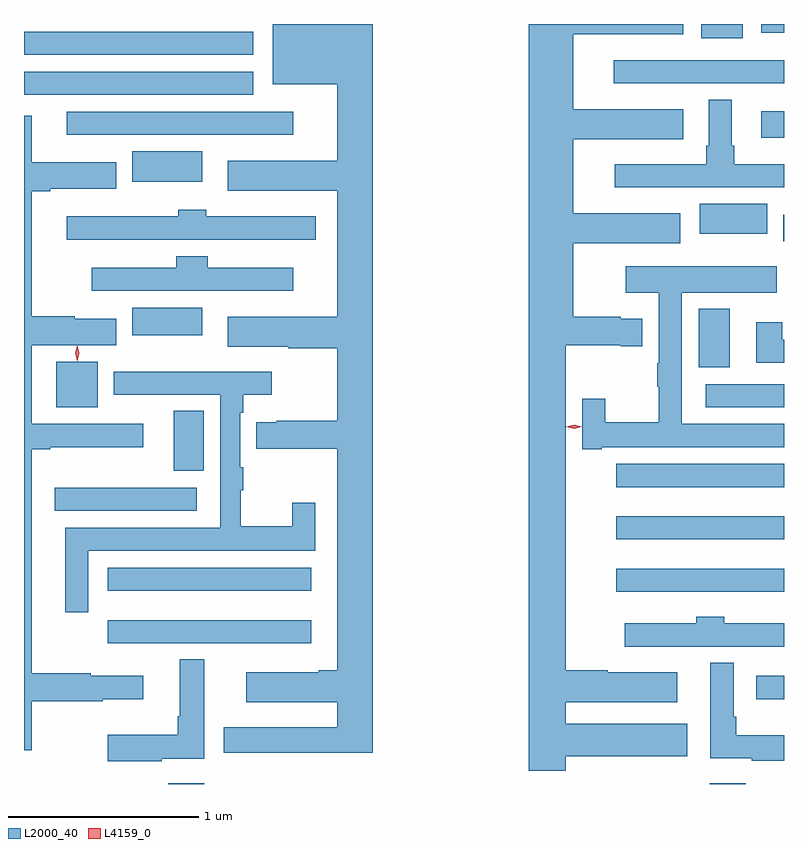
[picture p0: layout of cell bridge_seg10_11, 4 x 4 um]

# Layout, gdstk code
import gdstk
lib = gdstk.Library(unit=1e-6, precision=1e-09)
def R(c, l, rs):  # rectangles x0, y0, x1, y1
    for r in rs: c.add(gdstk.rectangle(r[:2], r[2:], *l))
def A(c, l, x, y, w, h, nx, ny, dx, dy):  # array of equal rectangles
    R(c, l, [(x+i*dx, y+j*dy, x+i*dx+w, y+j*dy+h) for i in range(nx) for j in range(ny)])
def P(c, l, *ps):  # polygons
    for p in ps: c.add(gdstk.Polygon(p, *l))
L2000_40 = (2000, 40)
L4159_0 = (4159, 0)

bridge_seg10_11 = lib.new_cell('bridge_seg10_11')
A(bridge_seg10_11, L2000_40, 1059.798, 1275.164, 0.884, 0.122, 1, 3, 0, 0.276)
R(bridge_seg10_11, L2000_40, [(1057.442,1274.153,1057.63,1274.158), (1060.292,1274.153,1060.48,1274.158), (1060.536,1274.6,1060.682,1274.722), (1057.122,1274.894,1058.194,1275.016), (1057.122,1275.17,1058.194,1275.292), (1056.843,1275.59,1057.591,1275.712), (1057.469,1275.801,1057.627,1276.117), (1056.851,1276.136,1057.069,1276.375), (1060.269,1276.136,1060.682,1276.258), (1060.232,1276.347,1060.396,1276.654), (1057.252,1276.514,1057.621,1276.66), (1060.678,1277.009,1060.682,1277.149), (1060.239,1277.048,1060.593,1277.206), (1057.252,1277.324,1057.621,1277.482), (1060.563,1277.555,1060.682,1277.695), (1056.906,1277.57,1058.098,1277.692), (1056.682,1277.78,1057.888,1277.902), (1059.786,1277.84,1060.682,1277.962), (1056.682,1277.99,1057.888,1278.112), (1060.247,1278.077,1060.465,1278.153), (1060.563,1278.107,1060.682,1278.153)])
P(bridge_seg10_11, L2000_40, [(1058.518,1278.153),(1057.991,1278.153),(1057.991,1277.837),(1058.33,1277.837),(1058.33,1277.434),(1057.755,1277.434),(1057.755,1277.276),(1058.33,1277.276),(1058.33,1276.612),(1057.755,1276.612),(1057.755,1276.454),(1058.074,1276.454),(1058.074,1276.447),(1058.33,1276.447),(1058.33,1276.065),(1058.011,1276.065),(1058.011,1276.057),(1057.904,1276.057),(1057.904,1275.917),(1058.33,1275.917),(1058.33,1274.753),(1058.234,1274.753),(1058.234,1274.74),(1057.851,1274.74),(1057.851,1274.582),(1058.33,1274.582),(1058.33,1274.452),(1057.734,1274.452),(1057.734,1274.318),(1058.518,1274.318)],
  [(1059.532,1274.3),(1060.174,1274.3),(1060.174,1274.47),(1059.532,1274.47),(1059.532,1274.582),(1060.12,1274.582),(1060.12,1274.74),(1059.755,1274.74),(1059.755,1274.753),(1059.532,1274.753),(1059.532,1276.463),(1059.824,1276.463),(1059.824,1276.456),(1059.937,1276.456),(1059.937,1276.603),(1059.824,1276.603),(1059.824,1276.611),(1059.574,1276.611),(1059.574,1277),(1060.135,1277),(1060.135,1277.158),(1059.574,1277.158),(1059.574,1277.546),(1060.153,1277.546),(1060.153,1277.704),(1059.574,1277.704),(1059.574,1278.098),(1060.153,1278.098),(1060.153,1278.153),(1059.338,1278.153),(1059.338,1274.222),(1059.532,1274.222)],
  [(1060.682,1277.416),(1060.421,1277.416),(1060.421,1277.512),(1060.408,1277.512),(1060.408,1277.755),(1060.286,1277.755),(1060.286,1277.512),(1060.274,1277.512),(1060.274,1277.416),(1059.792,1277.416),(1059.792,1277.294),(1060.682,1277.294)],
  [(1056.724,1274.588),(1057.096,1274.588),(1057.096,1274.6),(1057.309,1274.6),(1057.309,1274.722),(1057.034,1274.722),(1057.034,1274.735),(1056.724,1274.735),(1056.724,1275.914),(1056.82,1275.914),(1056.82,1275.926),(1057.309,1275.926),(1057.309,1276.048),(1056.724,1276.048),(1056.724,1276.463),(1057.167,1276.463),(1057.167,1276.603),(1056.95,1276.603),(1056.95,1276.616),(1056.724,1276.616),(1056.724,1277.273),(1056.82,1277.273),(1056.82,1277.285),(1057.167,1277.285),(1057.167,1277.425),(1056.724,1277.425),(1056.724,1277.671),(1056.682,1277.671),(1056.682,1274.33),(1056.724,1274.33)],
  [(1058.218,1277.14),(1057.64,1277.14),(1057.64,1277.176),(1057.493,1277.176),(1057.493,1277.14),(1056.906,1277.14),(1056.906,1277.018),(1058.218,1277.018)],
  [(1058.098,1276.87),(1057.649,1276.87),(1057.649,1276.93),(1057.484,1276.93),(1057.484,1276.87),(1057.038,1276.87),(1057.038,1276.748),(1058.098,1276.748)],
  [(1059.724,1275.926),(1060.682,1275.926),(1060.682,1276.048),(1060.144,1276.048),(1060.144,1276.739),(1060.645,1276.739),(1060.645,1276.879),(1059.849,1276.879),(1059.849,1276.739),(1060.022,1276.739),(1060.022,1276.367),(1060.015,1276.367),(1060.015,1276.244),(1060.022,1276.244),(1060.022,1276.056),(1059.742,1276.056),(1059.742,1276.18),(1059.62,1276.18),(1059.62,1275.914),(1059.724,1275.914)],
  [(1060.682,1276.492),(1060.674,1276.492),(1060.674,1276.584),(1060.535,1276.584),(1060.535,1276.37),(1060.682,1276.37)],
  [(1057.021,1275.38),(1058.215,1275.38),(1058.215,1275.634),(1058.093,1275.634),(1058.093,1275.51),(1057.822,1275.51),(1057.822,1275.698),(1057.837,1275.698),(1057.837,1275.821),(1057.819,1275.821),(1057.819,1276.106),(1057.837,1276.106),(1057.837,1276.202),(1057.987,1276.202),(1057.987,1276.324),(1057.154,1276.324),(1057.154,1276.202),(1057.715,1276.202),(1057.715,1275.502),(1056.899,1275.502),(1056.899,1275.057),(1057.021,1275.057)],
  [(1060.682,1274.998),(1060.367,1274.998),(1060.367,1275.034),(1060.22,1275.034),(1060.22,1274.998),(1059.843,1274.998),(1059.843,1274.876),(1060.682,1274.876)],
  [(1057.406,1274.285),(1057.63,1274.285),(1057.63,1274.809),(1057.502,1274.809),(1057.502,1274.509),(1057.49,1274.509),(1057.49,1274.413),(1057.122,1274.413),(1057.122,1274.273),(1057.406,1274.273)],
  [(1060.682,1274.41),(1060.43,1274.41),(1060.43,1274.506),(1060.417,1274.506),(1060.417,1274.791),(1060.295,1274.791),(1060.295,1274.288),(1060.513,1274.288),(1060.513,1274.276),(1060.682,1274.276)])
P(bridge_seg10_11, L4159_0, [(1059.577,1276.023),(1059.537,1276.032),(1059.537,1276.033),(1059.537,1276.033),(1059.577,1276.043),(1059.617,1276.033),(1059.617,1276.033),(1059.617,1276.032)],
  [(1056.963,1276.378),(1056.963,1276.378),(1056.953,1276.419),(1056.962,1276.461),(1056.962,1276.461),(1056.963,1276.461),(1056.973,1276.419),(1056.963,1276.378)])

lib.write_gds('bridge_seg10_11.gds')
